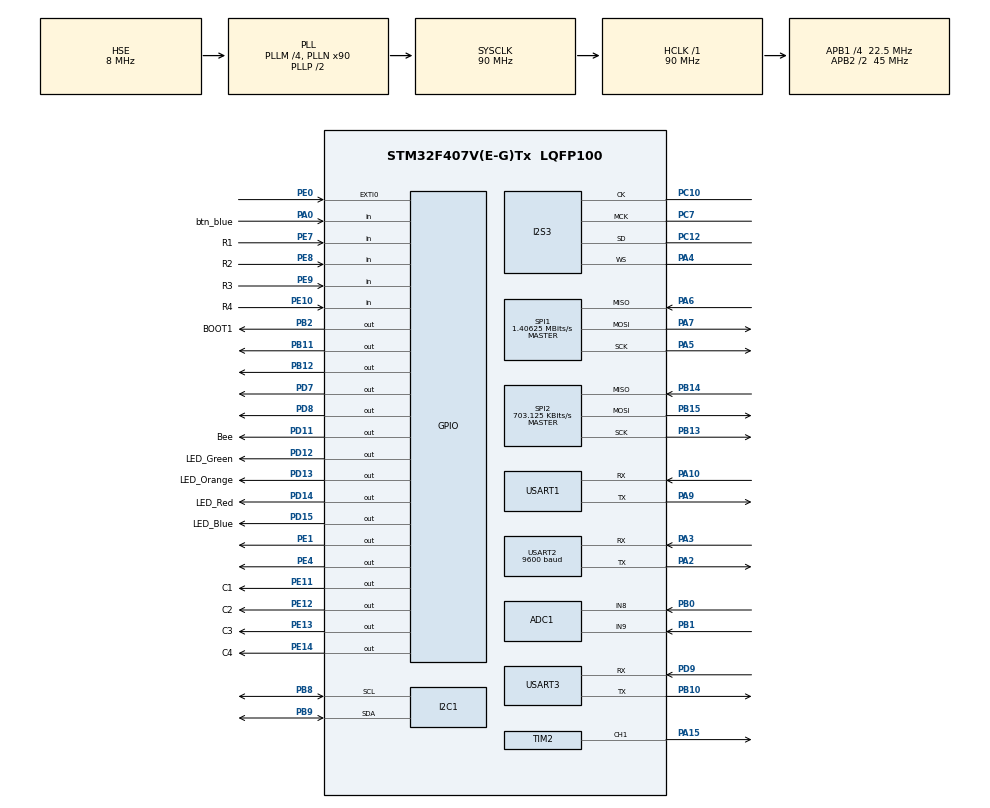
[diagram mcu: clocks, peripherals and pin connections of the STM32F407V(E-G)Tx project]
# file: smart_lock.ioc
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ADC1.Channel-0\#ChannelRegularConversion=ADC_CHANNEL_8
ADC1.Channel-1\#ChannelRegularConversion=ADC_CHANNEL_9
ADC1.ContinuousConvMode=ENABLE
ADC1.NbrOfConversion=2
ADC1.NbrOfConversionFlag=1
ADC1.Rank-0\#ChannelRegularConversion=1
ADC1.Rank-1\#ChannelRegularConversion=2
ADC1.SamplingTime-0\#ChannelRegularConversion=ADC_SAMPLETIME_3CYCLES
ADC1.SamplingTime-1\#ChannelRegularConversion=ADC_SAMPLETIME_3CYCLES
ADC1.ScanConvMode=ENABLE
ADC1.master=1
Dma.ADC1.1.Direction=DMA_PERIPH_TO_MEMORY
Dma.ADC1.1.FIFOMode=DMA_FIFOMODE_DISABLE
Dma.ADC1.1.Instance=DMA2_Stream0
Dma.ADC1.1.MemDataAlignment=DMA_MDATAALIGN_WORD
Dma.ADC1.1.MemInc=DMA_MINC_ENABLE
Dma.ADC1.1.Mode=DMA_CIRCULAR
Dma.ADC1.1.PeriphDataAlignment=DMA_PDATAALIGN_WORD
Dma.ADC1.1.PeriphInc=DMA_PINC_DISABLE
Dma.ADC1.1.Priority=DMA_PRIORITY_LOW
Dma.Request0=SPI3_TX
Dma.Request1=ADC1
Dma.SPI3_TX.0.Direction=DMA_MEMORY_TO_PERIPH
Dma.SPI3_TX.0.FIFOMode=DMA_FIFOMODE_ENABLE
Dma.SPI3_TX.0.FIFOThreshold=DMA_FIFO_THRESHOLD_FULL
Dma.SPI3_TX.0.Instance=DMA1_Stream5
Dma.SPI3_TX.0.MemBurst=DMA_MBURST_SINGLE
Dma.SPI3_TX.0.MemDataAlignment=DMA_MDATAALIGN_HALFWORD
Dma.SPI3_TX.0.MemInc=DMA_MINC_ENABLE
Dma.SPI3_TX.0.Mode=DMA_CIRCULAR
Dma.SPI3_TX.0.PeriphBurst=DMA_PBURST_SINGLE
Dma.SPI3_TX.0.PeriphDataAlignment=DMA_PDATAALIGN_HALFWORD
Dma.SPI3_TX.0.PeriphInc=DMA_PINC_DISABLE
Dma.SPI3_TX.0.Priority=DMA_PRIORITY_LOW
I2S3.AudioFreq=I2S_AUDIOFREQ_44K
I2S3.ErrorAudioFreq=10.97 %
I2S3.FullDuplexMode=I2S_FULLDUPLEXMODE_DISABLE
I2S3.Instance=SPI$Index
I2S3.RealAudioFreq=48.828 KHz
I2S3.VirtualMode=I2S_MODE_MASTER
Mcu.Family=STM32F4
Mcu.Name=STM32F407V(E-G)Tx
Mcu.Package=LQFP100
NVIC.DMA1_Stream5_IRQn=true\:0\:0\:false\:false\:true\:false\:true\:true
NVIC.DMA2_Stream0_IRQn=true\:0\:0\:false\:false\:true\:false\:true\:true
NVIC.EXTI0_IRQn=true\:15\:0\:true\:false\:true\:true\:true\:true
NVIC.PriorityGroup=NVIC_PRIORITYGROUP_4
NVIC.TIM7_IRQn=true\:15\:0\:false\:false\:true\:false\:true\:true
NVIC.TimeBase=TIM7_IRQn
NVIC.TimeBaseIP=TIM7
NVIC.USART2_IRQn=true\:0\:0\:false\:false\:true\:true\:true\:true
NVIC.USART3_IRQn=true\:0\:0\:false\:false\:true\:true\:true\:true
PA0-WKUP.GPIO_Label=btn_blue
PA0-WKUP.Signal=GPIO_Input
PA10.Mode=Asynchronous
PA10.Signal=USART1_RX
PA13.Mode=Serial_Wire
PA13.Signal=SYS_JTMS-SWDIO
PA14.Mode=Serial_Wire
PA14.Signal=SYS_JTCK-SWCLK
PA15.Signal=S_TIM2_CH1_ETR
PA2.Mode=Asynchronous
PA2.Signal=USART2_TX
PA3.Mode=Asynchronous
PA3.Signal=USART2_RX
PA4.Mode=Half_Duplex_Master
PA4.Signal=I2S3_WS
PA5.Mode=Full_Duplex_Master
PA5.Signal=SPI1_SCK
PA6.Mode=Full_Duplex_Master
PA6.Signal=SPI1_MISO
PA7.Mode=Full_Duplex_Master
PA7.Signal=SPI1_MOSI
PA9.Mode=Asynchronous
PA9.Signal=USART1_TX
PB0.Signal=ADCx_IN8
PB1.Signal=ADCx_IN9
PB10.Mode=Asynchronous
PB10.Signal=USART3_TX
PB11.Signal=GPIO_Output
PB12.Signal=GPIO_Output
PB13.Mode=Full_Duplex_Master
PB13.Signal=SPI2_SCK
PB14.Mode=Full_Duplex_Master
PB14.Signal=SPI2_MISO
PB15.Mode=Full_Duplex_Master
PB15.Signal=SPI2_MOSI
PB2.GPIO_Label=BOOT1
PB2.Signal=GPIO_Output
PB8.GPIO_Pu=GPIO_PULLUP
PB8.Mode=I2C
PB8.Signal=I2C1_SCL
PB9.GPIO_Pu=GPIO_PULLUP
PB9.Mode=I2C
PB9.Signal=I2C1_SDA
PC10.Mode=Half_Duplex_Master
PC10.Signal=I2S3_CK
PC12.Mode=Half_Duplex_Master
PC12.Signal=I2S3_SD
PC7.Mode=Master_Clock_Activated
PC7.Signal=I2S3_MCK
PD11.GPIO_Label=Bee
PD11.Signal=GPIO_Output
PD12.GPIO_Label=LED_Green
PD12.Signal=GPIO_Output
PD13.GPIO_Label=LED_Orange
PD13.Signal=GPIO_Output
PD14.GPIO_Label=LED_Red
PD14.Signal=GPIO_Output
PD15.GPIO_Label=LED_Blue
PD15.Signal=GPIO_Output
PD7.Signal=GPIO_Output
PD8.Signal=GPIO_Output
PD9.Mode=Asynchronous
PD9.Signal=USART3_RX
PE0.Signal=GPXTI0
PE1.Signal=GPIO_Output
PE10.GPIO_Label=R4
PE10.Signal=GPIO_Input
PE11.GPIO_Label=C1
PE11.Signal=GPIO_Output
PE12.GPIO_Label=C2
PE12.Signal=GPIO_Output
PE13.GPIO_Label=C3
PE13.Signal=GPIO_Output
PE14.GPIO_Label=C4
PE14.Signal=GPIO_Output
PE4.Signal=GPIO_Output
PE7.GPIO_Label=R1
PE7.Signal=GPIO_Input
PE8.GPIO_Label=R2
PE8.Signal=GPIO_Input
PE9.GPIO_Label=R3
PE9.Signal=GPIO_Input
PH0-OSC_IN.Mode=HSE-External-Oscillator
PH0-OSC_IN.Signal=RCC_OSC_IN
PH1-OSC_OUT.Mode=HSE-External-Oscillator
PH1-OSC_OUT.Signal=RCC_OSC_OUT
ProjectManager.HeapSize=0x200
ProjectManager.StackSize=0x400
ProjectManager.TargetToolchain=STM32CubeIDE
RCC.48MHZClocksFreq_Value=45000000
RCC.AHBFreq_Value=90000000
RCC.APB1CLKDivider=RCC_HCLK_DIV4
RCC.APB1Freq_Value=22500000
RCC.APB1TimFreq_Value=45000000
RCC.APB2CLKDivider=RCC_HCLK_DIV2
RCC.APB2Freq_Value=45000000
RCC.APB2TimFreq_Value=90000000
RCC.CortexFreq_Value=90000000
RCC.HCLKFreq_Value=90000000
RCC.HSE_VALUE=8000000
RCC.HSI_VALUE=16000000
RCC.LSE_VALUE=32768
RCC.PLLI2SN=50
RCC.PLLM=4
RCC.PLLN=90
RCC.PLLSourceVirtual=RCC_PLLSOURCE_HSE
RCC.SYSCLKFreq_VALUE=90000000
RCC.SYSCLKSource=RCC_SYSCLKSOURCE_PLLCLK
RCC.VCOOutputFreq_Value=180000000
SH.ADCx_IN8.0=ADC1_IN8,IN8
SH.ADCx_IN9.0=ADC1_IN9,IN9
SH.S_TIM2_CH1_ETR.0=TIM2_CH1,PWM Generation1 CH1
SPI1.BaudRatePrescaler=SPI_BAUDRATEPRESCALER_32
SPI1.CalculateBaudRate=1.40625 MBits/s
SPI1.Direction=SPI_DIRECTION_2LINES
SPI1.Mode=SPI_MODE_MASTER
SPI1.VirtualType=VM_MASTER
SPI2.BaudRatePrescaler=SPI_BAUDRATEPRESCALER_32
SPI2.CalculateBaudRate=703.125 KBits/s
SPI2.Direction=SPI_DIRECTION_2LINES
SPI2.Mode=SPI_MODE_MASTER
SPI2.VirtualType=VM_MASTER
TIM2.Channel-PWM\ Generation1\ CH1=TIM_CHANNEL_1
TIM2.ClockDivision=TIM_CLOCKDIVISION_DIV1
TIM2.Period=65535
TIM2.Prescaler=89
USART1.VirtualMode=VM_ASYNC
USART2.BaudRate=9600
USART2.VirtualMode=VM_ASYNC
USART3.VirtualMode=VM_ASYNC
VP_SYS_VS_tim7.Mode=TIM7
board=custom

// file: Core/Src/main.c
/* USER CODE BEGIN Header */
/**
 ******************************************************************************
 * @file           : main.c
 * @brief          : Main program body
 ******************************************************************************
 * @attention
 *
 * <h2><center>&copy; Copyright (c) 2021 STMicroelectronics.
 * All rights reserved.</center></h2>
 *
 * This software component is licensed by ST under BSD 3-Clause license,
 * the "License"; You may not use this file except in compliance with the
 * License. You may obtain a copy of the License at:
 *                        opensource.org/licenses/BSD-3-Clause
 *
 ******************************************************************************
 */

#include <string.h>
//#include "main.h"
#include "FreeRTOS.h"

#include "queue.h"
#include "semphr.h"
#include "task.h"

#include "stdio.h"
#include "stdlib.h"
#include "stdbool.h"
#include "rc522.h"
#include "string.h"
#include "liquidcrystal_i2c.h"
/* USER CODE END Header */
#include "main.h"

/* USER CODE BEGIN Includes */
//#define RXBUFFERSIZE  256
//char RxBuffer[RXBUFFERSIZE];
//#include <stdio.h>
/* USER CODE END Includes */

/* USER CODE BEGIN PTD */
GPIO_TypeDef* R1_PORT = GPIOE;
GPIO_TypeDef* R2_PORT = GPIOE;
GPIO_TypeDef* R3_PORT = GPIOE;
GPIO_TypeDef* R4_PORT = GPIOE;
GPIO_TypeDef* C1_PORT = GPIOE;
GPIO_TypeDef* C2_PORT = GPIOE;
GPIO_TypeDef* C3_PORT = GPIOE;
GPIO_TypeDef* C4_PORT = GPIOE;
/* USER CODE END PTD */

/* USER CODE BEGIN PD */
#define R1_PIN GPIO_PIN_7
#define R2_PIN GPIO_PIN_8
#define R3_PIN GPIO_PIN_9
#define R4_PIN GPIO_PIN_10
#define C1_PIN GPIO_PIN_11
#define C2_PIN GPIO_PIN_12
#define C3_PIN GPIO_PIN_13
#define C4_PIN GPIO_PIN_14
/* USER CODE END PD */

ADC_HandleTypeDef hadc1;
DMA_HandleTypeDef hdma_adc1;

I2C_HandleTypeDef hi2c1;

I2S_HandleTypeDef hi2s3;
DMA_HandleTypeDef hdma_spi3_tx;

SPI_HandleTypeDef hspi1;
SPI_HandleTypeDef hspi2;

TIM_HandleTypeDef htim2;

UART_HandleTypeDef huart1;
UART_HandleTypeDef huart2;
UART_HandleTypeDef huart3;

/* USER CODE BEGIN PV */
uint8_t status;
uint8_t str[MAX_LEN]; // Max_LEN = 16
uint8_t sNum[5];
TaskHandle_t xHandle_1 = NULL;
TaskHandle_t xHandle_2 = NULL;
TaskHandle_t xHandle_lock_task = NULL;
TaskHandle_t xHandle_unlock_task = NULL;
  //registered card linked list
card *list_start = NULL;
card *list_end = NULL;

char key;
char enteredPin[5];
uint8_t entered = 0;
const char setPin[4] = {'1', '2', '3', '4'};
char newPin[5] = {'\0'};
uint8_t newPinSet = 0;
QueueHandle_t keypadQueue;

/* USER CODE END PV */

void SystemClock_Config(void);
static void MX_GPIO_Init(void);
static void MX_DMA_Init(void);
void MX_SPI1_Init(void);
static void MX_I2C1_Init(void);
static void MX_I2S3_Init(void);
static void MX_USART2_UART_Init(void);
static void MX_ADC1_Init(void);
static void MX_SPI2_Init(void);
static void MX_TIM2_Init(void);
static void MX_USART3_UART_Init(void);
static void MX_USART1_UART_Init(void);
/* USER CODE BEGIN PFP */
//extern ApplicationTypeDef Appli_state;
SemaphoreHandle_t xSemaphore;
uint8_t flag = pdTRUE;
uint8_t isFinished = 0;
int k=0;
int recvt;
QueueHandle_t xQue1;
/* USER CODE END PFP */

/* USER CODE BEGIN 0 */
//UART_HandleTypeDef UartHandle;
/* Private function prototypes -----------------------------------------------*/
char read_keypad(void)
{
    char keys[4][4] = {{'1', '2', '3', 'A'},
                       {'4', '5', '6', 'B'},
                       {'7', '8', '9', 'C'},
                       {'*', '0', '#', 'D'}};

    for (int i = 0; i < 4; i++)
    {
        // Set one column to LOW and others to HIGH
        HAL_GPIO_WritePin(C1_PORT, C1_PIN, (i == 0) ? GPIO_PIN_RESET : GPIO_PIN_SET);
        HAL_GPIO_WritePin(C2_PORT, C2_PIN, (i == 1) ? GPIO_PIN_RESET : GPIO_PIN_SET);
        HAL_GPIO_WritePin(C3_PORT, C3_PIN, (i == 2) ? GPIO_PIN_RESET : GPIO_PIN_SET);
        HAL_GPIO_WritePin(C4_PORT, C4_PIN, (i == 3) ? GPIO_PIN_RESET : GPIO_PIN_SET);
//         printf("Row 1 Pin State: %d\n", HAL_GPIO_ReadPin(R1_PORT, R1_PIN));

        // Check each row
        if (HAL_GPIO_ReadPin(R1_PORT, R1_PIN) == GPIO_PIN_RESET) {
            HAL_Delay(20); // Debounce delay
            if (HAL_GPIO_ReadPin(R1_PORT, R1_PIN) == GPIO_PIN_RESET) { // Check again
                return keys[i][0];
            }
        }
        if (HAL_GPIO_ReadPin(R2_PORT, R2_PIN) == GPIO_PIN_RESET) {
            HAL_Delay(20);
            if (HAL_GPIO_ReadPin(R2_PORT, R2_PIN) == GPIO_PIN_RESET) {
                return keys[i][1];
            }
        }
        if (HAL_GPIO_ReadPin(R3_PORT, R3_PIN) == GPIO_PIN_RESET) {
            HAL_Delay(20);
            if (HAL_GPIO_ReadPin(R3_PORT, R3_PIN) == GPIO_PIN_RESET) {
                return keys[i][2];
            }
        }
        if (HAL_GPIO_ReadPin(R4_PORT, R4_PIN) == GPIO_PIN_RESET) {
            HAL_Delay(20);
            if (HAL_GPIO_ReadPin(R4_PORT, R4_PIN) == GPIO_PIN_RESET) {
                return keys[i][3];
            }
        }
    }

//    printf("Key read: %c\n", key);
    return '\0';
}

//search card in the linked list stored in the RAM of board
uint8_t search_card_list_Global(uint8_t *target_cardVal)
{
  uint8_t card_exist = 0;
  card *current = list_start;
  while(current != NULL){
    if(current->data[0] == target_cardVal[0] && current->data[1] == target_cardVal[1] && current->data[2] == target_cardVal[2] && current->data[3] == target_cardVal[3] && current->data[4] == target_cardVal[4]){
      card_exist = 1;
      break;
    }
    current = current->next;
  }
  return card_exist;
}

//add a new card into the linked list, and update SD card
void rc522_add_card(){
  HAL_GPIO_WritePin(GPIOD,LED_Blue_Pin,1);
  //reset str before reading
  for(int cardVal = 0; cardVal < 5; cardVal++){
    str[cardVal] = 0;
  }
  //if a card is read, str[0~4] will not be 0
  //repeat reading until a card is read
  while(!(str[0] != 0 && str[1] != 0 && str[2] != 0 && str[3] != 0 && str[4] != 0)){
    status = MFRC522_Request(PICC_REQIDL, str);
    status = MFRC522_Anticoll(str);
  }
  //check if the readed card already exists in the linked list
  //if it exists, keep reading until a new card is read
  uint8_t card_exist = search_card_list_Global(str);
  while(card_exist){
    //reset str before reading
    for(int cardVal = 0; cardVal < 5; cardVal++){
      str[cardVal] = 0;
    }
    while(!(str[0] != 0 && str[1] != 0 && str[2] != 0 && str[3] != 0 && str[4] != 0)){
      status = MFRC522_Request(PICC_REQIDL, str);
      status = MFRC522_Anticoll(str);
    }
    card_exist = search_card_list_Global(str);
  }
  //add the new card to the list, don't forget to free this memory in delete_card fn.
  card *new_card = (card *)malloc(sizeof(card));
  new_card->next = NULL;
  for(int cardVal = 0; cardVal < 5; cardVal++){
    new_card->data[cardVal] = str[cardVal];
  }
  if(list_start == NULL){//the list is empty
    list_start = new_card;
    list_end = new_card;
  }else if (list_start -> next == NULL){//there is only one card in the list
    list_start->next = new_card;
    list_end = new_card;
  }else{//there are >= 2 cards in the list
    list_end->next = new_card;
    list_end = new_card;
  }
  HAL_GPIO_WritePin(GPIOD,LED_Blue_Pin,0);

  //update registered_card_linked_list to SD card.(overwrite)
  // update_card_to_SD();
}

//assume the target card is in the list
//delete the target card from the linked list, and update SD card
void rc522_delete_card(uint8_t *target_card_value){
  card *cur = list_start;
  card *prev = NULL;
  while(cur != NULL){
    if(cur->data[0] == target_card_value[0] && cur->data[1] == target_card_value[1] && cur->data[2] == target_card_value[2] && cur->data[3] == target_card_value[3] && cur->data[4] == target_card_value[4]){
      break; //found
    }
    prev = cur;
    cur = cur->next;
  }
  if(cur == list_start){//target is the first card
    list_start = list_start->next;
    free(cur);
    cur == NULL;
  }else if(cur == list_end){//target is the last card
    list_end = prev;
    prev->next = NULL;
    free(cur);
    cur == NULL;
  }else{//target is in the middle
    prev->next = cur->next;
    free(cur);
    cur == NULL;
  }
  //update registered_card_linked_list to SD card.(overwrite)
  // update_card_to_SD();
}

void rc522_test(void *pvParameters)
{
  //test
  // rc522_add_card();
  // uint8_t del[5] = {211,113,208,2,112};
  // rc522_delete_card(del);
  while(1){
    //it's possible that no card is read
    status = MFRC522_Request(PICC_REQIDL, str);
    status = MFRC522_Anticoll(str);
    memcpy(sNum, str, 5);
    uint8_t led_state = 0;

    // test
    // if((str[0]==211) && (str[1]==113) && (str[2]==208) && (str[3]==2) && (str[4]==112) )
    // {
    //   // HAL_GPIO_WritePin(GPIOD,LED_Orange_Pin,0);
    //   led_state = 0;
    //   HAL_Delay(100);
    //   }
    // else if((str[0]==106) && (str[1]==73) && (str[2]==5) && (str[3]==128) && (str[4]==166) )
    //   {
    //   // HAL_GPIO_WritePin(GPIOD,LED_Orange_Pin,0);
    //   led_state = 0;
    //   HAL_Delay(200);
    // }
    // else
    // {
    //   // HAL_GPIO_WritePin(GPIOD,LED_Orange_Pin,1);
    //   led_state = 1;
    // }

    //test: os will crash when readiing SD card first.(i.e. Not write to SD card first)
    //search_card_list_SD(str);

    uint8_t card_exist = search_card_list_Global(str);
    if(card_exist){
      led_state = 0;
    }else{
      led_state = 1;
    }
    HAL_GPIO_WritePin(GPIOD,LED_Orange_Pin,led_state);
    HAL_Delay(300);
  }
}

int debounce(int state){
  //pressed
  if(state){
    //wait for some time to debounce
    vTaskDelay(25);
    //check if still pressed
    if(HAL_GPIO_ReadPin(btn_blue_GPIO_Port, GPIO_PIN_0)){
      //wait for button to be released
      while(HAL_GPIO_ReadPin(btn_blue_GPIO_Port, GPIO_PIN_0)){;}
      return 1;//pressed
    }
  }
  return 0;//not pressed
}

void PushButton(){
	for(;;){
		int opt=1;

		if(debounce(HAL_GPIO_ReadPin(btn_blue_GPIO_Port, GPIO_PIN_0))){
      xQueueSend(xQue1,&opt,(TickType_t)3);
      vTaskDelay(25);
    }
	}
}

uint8_t rc522_check(){
  status = MFRC522_Request(PICC_REQIDL, str);
  status = MFRC522_Anticoll(str);
  memcpy(sNum, str, 5);
  uint8_t card_exist = search_card_list_Global(str);
  return card_exist;
}

void setpin(){
  HD44780_Init(2);
  HD44780_Clear();
  HD44780_PrintStr("Entering PIN:");
  HD44780_SetCursor(0, 1);
  bool isButtonPressed = false;
  char enteredPin[5] = {0};
  uint8_t local_entered = 0;
  // bool newPinSet = false;
  while (local_entered < 4) {
    key = read_keypad();
    if (key != '\0' && !isButtonPressed) {
      if (key >= '0' && key <= '9' && local_entered < 4) {
          strncat(enteredPin, &key, 1);
          local_entered++;
          HD44780_PrintStr("*");
      } else if (key == 'C' && local_entered > 0) {
          enteredPin[local_entered - 1] = '\0';
          local_entered--;
          for(int i = 0; i < local_entered; i++) {
              HD44780_PrintStr("*");
          }
      }
      if (local_entered == 4) {
          strncpy(newPin, enteredPin, 4);
          // newPinSet = true;
          enteredPin[0] = '\0';
          HD44780_Clear();
          HD44780_PrintStr("PIN Set!");
          uint32_t From_begin_time = HAL_GetTick();
          while(HAL_GetTick() - From_begin_time < 1000/portTICK_RATE_MS){//wait 3s for push button
            ;
          }
      }
      isButtonPressed = true;  // Mark the button as pressed
    }else if (key == '\0') {
        isButtonPressed = false;  // Reset button press state
    }
  }
  return;
}

void unlock_fn_setpin() {
    HD44780_Init(2);//lcd init, should be called in "task"
    HD44780_Clear();
    char unlock[16] = "UNLOCK!";
    HD44780_PrintStr(unlock);
    char add_Card_str[16] = "Set pin";
    HD44780_SetCursor(0,1);//move cursor to the first word of the second line
    HD44780_PrintStr(add_Card_str);
    uint32_t From_begin_time = HAL_GetTick();
    while(HAL_GetTick() - From_begin_time < 3000/portTICK_RATE_MS){//wait 3s for push button
      if(debounce(HAL_GPIO_ReadPin(btn_blue_GPIO_Port, GPIO_PIN_0))){//push button
        setpin();
        return;
      }
    }
}

uint8_t keypad_check() {
    printf("Entered keypad_check()\n");
    char enteredPin[5] = {0};
    uint8_t entered = 0;
    char key;
    bool isButtonPressed = false;
    bool startInput = false;  // Flag to indicate whether to start PIN input

    HD44780_Clear();
    HD44780_SetCursor(0, 0);
    HD44780_PrintStr("Ready");
    HAL_Delay(20);

    while (entered < 4) {
        key = read_keypad();  // Read key input

        if (key != '\0' && !isButtonPressed) {
            printf("Entered key: %c\n", key);
            if (!startInput) {
                HD44780_Clear();
                HD44780_SetCursor(0, 0);
                HD44780_PrintStr("Enter PIN:");
                startInput = true;  // Start showing PIN input screen and accepting PIN input
            }

            if (key >= '0' && key <= '9' && entered < 4) {
                strncat(enteredPin, &key, 1);
                entered++;

                HD44780_SetCursor(11 + entered - 1, 0);
                HD44780_PrintStr("*");  // Print each '*' as it is entered
                printf(key);
            } else if (key == 'C' && entered > 0) {
                enteredPin[--entered] = '\0';
                HD44780_SetCursor(11 + entered, 0);
                HD44780_PrintStr(" ");  // Clear the '*' from the display
            }

            isButtonPressed = true;  // Mark the button as pressed
        } else if (key == '\0') {
            isButtonPressed = false;  // Reset button press state
        }
    }

    if (entered == 4) {
        if (strncmp(enteredPin, setPin, 4) == 0 || (strncmp(enteredPin, newPin, 4) == 0)) {
            HD44780_Clear();
            HD44780_SetCursor(0, 0);
            HD44780_PrintStr("UNLOCKED");
            return 1;  // PIN is correct
        } else {
            HD44780_SetCursor(0, 1);
            HD44780_PrintStr("Wrong PIN. Try again.");
            return 0;  // PIN is incorrect
        }
    }
    return 0;  // Default return if less than 4 digits were entered
}

uint8_t bluetooth_check(){
	uint8_t rx_data = 0;
	if(HAL_UART_Receive(&huart2,&rx_data,1, 300) == HAL_OK){
		if(rx_data == '1'){
			return 1;
		}
		else{
			return 0;
		}
	}
	return 0;
}

void unlock_fn_AddCard(){
  HD44780_Init(2);//lcd init, should be called in "task"
  HD44780_Clear();//clean screen
  char unlock[16] = "UNLOCK!";
  HD44780_PrintStr(unlock);
  char add_Card_str[16] = "Add Card";
  HD44780_SetCursor(0,1);//move cursor to the first word of the second line
  HD44780_PrintStr(add_Card_str);
  uint32_t From_begin_time = HAL_GetTick();
  while(HAL_GetTick() - From_begin_time < 3000/portTICK_RATE_MS){//wait 3s for push button
    if(debounce(HAL_GPIO_ReadPin(btn_blue_GPIO_Port, GPIO_PIN_0))){//push button
      rc522_add_card();
      return;
    }
  }
}

void unlock_fn_DelCard(){
  HD44780_Init(2);//lcd init, should be called in "task"
  HD44780_Clear();//clean screen
  char unlock[16] = "UNLOCK!";
  HD44780_PrintStr(unlock);
  char del_Card_str[16] = "Del Card";
  HD44780_SetCursor(0,1);
  HD44780_PrintStr(del_Card_str);
  uint32_t From_begin_time = HAL_GetTick();
  while(HAL_GetTick() - From_begin_time < 3000/portTICK_RATE_MS){//wait 3s for push button
    if(debounce(HAL_GPIO_ReadPin(btn_blue_GPIO_Port, GPIO_PIN_0))){//make sure doing delete card
      while(1){
        int count = 0;
        card *current = list_start;
        while(current != NULL){
          HD44780_Clear();
          char CARD[16] = "card ";
          char card_number[1];
          sprintf(card_number, "%d", count);
          strcat(CARD, card_number);
          HD44780_PrintStr(CARD);
          uint32_t card_showTime = HAL_GetTick();
          while(HAL_GetTick() - card_showTime < 1000/portTICK_RATE_MS){//delete selected card
            if(debounce(HAL_GPIO_ReadPin(btn_blue_GPIO_Port, GPIO_PIN_0))){
              uint8_t del[5] = {current->data[0], current->data[1], current->data[2], current->data[3], current->data[4]};
              rc522_delete_card(del);
              HD44780_Clear();
              char unlock_str[16] = "UNLOCK!";
              HD44780_PrintStr(unlock_str);
              return;
            }
          }
          current = current->next;
          count++;
        }
      }
    }
  }
}

void unlock_fn_Lock(){
  HD44780_Init(2);//lcd init, should be called in "task"
  HD44780_Clear();//clean screen
  char unlock[16] = "UNLOCK!";
  HD44780_PrintStr(unlock);
  char del_Card_str[16] = "LOCK function";
  HD44780_SetCursor(0,1);
  HD44780_PrintStr(del_Card_str);
  uint32_t From_begin_time = HAL_GetTick();
  while(HAL_GetTick() - From_begin_time < 3000/portTICK_RATE_MS){//wait 3s for push button
    if(debounce(HAL_GPIO_ReadPin(btn_blue_GPIO_Port, GPIO_PIN_0))){
      HD44780_Clear();
      vTaskResume(xHandle_lock_task);
      unlock_bee();
    }
  }
}

void lock_bee(){
  for (size_t i = 0; i < 2; i++)
  {
    uint32_t bee_time = HAL_GetTick();
    HAL_GPIO_WritePin(GPIOD, Bee_Pin, GPIO_PIN_SET);
    while(HAL_GetTick() - bee_time < 300/portTICK_RATE_MS){
      ;
    }
    HAL_GPIO_WritePin(GPIOD, Bee_Pin, GPIO_PIN_RESET);
    while(HAL_GetTick() - bee_time < 600/portTICK_RATE_MS){
      ;
    }
  }
}

void unlock_bee(){
  uint32_t bee_time = HAL_GetTick();
  HAL_GPIO_WritePin(GPIOD, Bee_Pin, GPIO_PIN_SET);
  while(HAL_GetTick() - bee_time < 300/portTICK_RATE_MS){
    ;
  }
  HAL_GPIO_WritePin(GPIOD, Bee_Pin, GPIO_PIN_RESET);
}

void lock_task(void *pvParameters){
  HD44780_Init(2);//lcd init, should be called in "task"
  HD44780_Clear();//clean screen
  uint8_t keyPressed = 0;
  lock_bee();
  while(1){
    char lock_str[16] = "LOCK!";
    HAL_GPIO_TogglePin(GPIOD, LED_Green_Pin);
    HD44780_PrintStr(lock_str);
    uint8_t unlock = 0;
    unlock = rc522_check();//str_1
    if(unlock){
      HAL_UART_Transmit(&huart3, (uint8_t*)"1", 14, 1000);//1:card_unlock
      vTaskSuspend(xHandle_lock_task);
      lock_bee();
    }

    uint32_t From_begin_time = HAL_GetTick();
    while(HAL_GetTick() - From_begin_time < 300/portTICK_RATE_MS){ //busy waiting 300 ms, can't use vTaskDelay
        char key = read_keypad();
        if (key != '\0' && !keyPressed) {
            keyPressed = 1;
            if (keypad_check()) {
                HAL_UART_Transmit(&huart3, (uint8_t*)"2", 14, 1000);//2:password_unlock
                vTaskSuspend(xHandle_lock_task);
                lock_bee();
            }
        } else if (key == '\0' && keyPressed) {
            keyPressed = 0; // Reset the flag when the key is released
        }
    }

    unlock = bluetooth_check();//wait 300ms for bluetooth signal
    if(unlock){
      // char* device = "BT";
      // sendLogToServer(device);
      HAL_UART_Transmit(&huart3, (uint8_t*)"3", 14, 1000);//3:bluetooth_unlock
      vTaskSuspend(xHandle_lock_task);
      lock_bee();
    }

    HD44780_Clear();
  }
}

void unlock_task(void *pvParameters){
  HD44780_Init(2);//lcd init, should be called in "task"
  HD44780_Clear();//clean screen
  unlock_bee();
  while(1){
    char unlock_str[16] = "UNLOCK!";
    HD44780_PrintStr(unlock_str);
    uint8_t fn_execute = 0;
    char key = read_keypad();
    if (key == 'A'){
      unlock_fn_AddCard();
    }
    if (key == 'B'){
      unlock_fn_DelCard();
    }
    if (key == 'C'){
      unlock_fn_Lock();
    }
    if (key == 'D'){
      unlock_fn_setpin();
    }
    HD44780_Clear();
  }
}

// void sendCommand(UART_Handlsd) {
//     HAL_UART_Transmit(huart, (uint8_t*)cmd, strlen(cmd), 1000);
// }

// void receiveResponse(UART_HandleTypeDef *huart, uint8_t *buffer, uint16_t bufferSize) {
//     HAL_UART_Receive(huart, buffer, bufferSize, 1000);
// }

// void sendLogToServer(const char* device) {
//     char httpRequest[256];
//     char httpCmd[64];
//     char rxBuffer[256];

//     memset(rxBuffer,'\0',sizeof(rxBuffer));
//     sendCommand(&huart1, "AT+CIPSTART=\"TCP\",\"192.168.50.94\",8000\r\n");
//     receiveResponse(&huart1, rxBuffer, sizeof(rxBuffer));

//     // Create the JSON payload
//     snprintf(httpRequest, sizeof(httpRequest),
//              "POST /log HTTP/1.1\r\n"
//              "Host: 192.168.1.115:8000\r\n"
//              "Content-Type: application/json\r\n"
//              "Content-Length: %d\r\n"
//              "\r\n"
//              "{\"device\":\"%s\"}",
//              strlen(device) + 13, device);

//     // Calculate the length of the HTTP request
//     int httpRequestLength = strlen(httpRequest);

//     // Create the AT+CIPSEND command with the correct length
//     snprintf(httpCmd, sizeof(httpCmd), "AT+CIPSEND=%d\r\n", httpRequestLength);

//     // Clear the receive buffer
//     memset(rxBuffer, '\0', sizeof(rxBuffer));

//     // Send the AT+CIPSEND command
//     sendCommand(&huart1, httpCmd);

//     // Receive the response (wait for ">")
//     receiveResponse(&huart1, rxBuffer, sizeof(rxBuffer));

//     // Check if the response contains ">"
//     if (strstr(rxBuffer, ">") != NULL) {
//         // Clear the receive buffer
//         memset(rxBuffer, '\0', sizeof(rxBuffer));

//         // Send the actual HTTP request
//         sendCommand(&huart1, httpRequest);

//         // Receive the response
//         receiveResponse(&huart1, rxBuffer, sizeof(rxBuffer));
//     }

//     memset(rxBuffer, '\0', sizeof(rxBuffer));
//     sendCommand(&huart1, "AT+CIPCLOSE\r\n");
//     receiveResponse(&huart1, rxBuffer, sizeof(rxBuffer));
// }

// void vEsp8266Init(){
//       char rxBuffer[512];

//       memset(rxBuffer,'\0',sizeof(rxBuffer));
//       sendCommand(&huart2, "AT\r\n");
//       receiveResponse(&huart2, rxBuffer, sizeof(rxBuffer));

//       memset(rxBuffer,'\0',sizeof(rxBuffer));
//       sendCommand(&huart2, "AT+CWMODE=1\r\n");
//       receiveResponse(&huart2, rxBuffer, sizeof(rxBuffer));

//       memset(rxBuffer,'\0',sizeof(rxBuffer));
//       sendCommand(&huart2, "AT+CWJAP=\"92902\",\"00092902\"\r\n");
//       receiveResponse(&huart2, rxBuffer, sizeof(rxBuffer));

//       memset(rxBuffer,'\0',sizeof(rxBuffer));
//       sendCommand(&huart2, "AT+CIPMUX=0\r\n");
//       receiveResponse(&huart2, rxBuffer, sizeof(rxBuffer));
// }

/* USER CODE END 0 */

int main(void)
{
  /* USER CODE BEGIN 1 */
	uint64_t CardSize = 0;
  /* USER CODE END 1 */

  /* MCU Configuration--------------------------------------------------------*/

  /* Reset of all peripherals, Initializes the Flash interface and the Systick. */
  HAL_Init();

  /* USER CODE BEGIN Init */
  xQue1=xQueueCreate(5,sizeof(int));
  /* USER CODE END Init */

  /* Configure the system clock */
  SystemClock_Config();

  /* Initialize all configured peripherals */
  MX_GPIO_Init();
  MX_DMA_Init();
  MX_SPI1_Init();
  MX_I2C1_Init();
  MX_I2S3_Init();
  MX_USART2_UART_Init();
  MX_ADC1_Init();
  MX_SPI2_Init();
  MX_TIM2_Init();
  MX_USART3_UART_Init();
  MX_USART1_UART_Init();
  /* USER CODE BEGIN 2 */
  // vEsp8266Init(); //WiFi init
  MFRC522_Init();//card reader init
  card *default_card = (card *)malloc(sizeof(card));
  default_card->next = NULL;
  default_card->data[0] = 211;
  default_card->data[1] = 113;
  default_card->data[2] = 208;
  default_card->data[3] = 2;
  default_card->data[4] = 112;
  list_start = default_card;
  list_end = default_card;

	// printf("# SD Card Type:0x%02X\r\n", SD_Type);
	// printf("# SD Card Size:%luMB\r\n", (uint32_t) CardSize);
	// // HAL_Delay(1000);

	// printf(
	// 		"\r\n\r\n####################### HAL Libary SD Card SPI FATFS Demo ################################\r\n");
	// MX_FATFS_Init();
	// exf_mount();
	// exf_getfree();
  // FATFS_RdWrTest();

  /*lab5-3*/
  // xTaskCreate(Task3, "task3", 500, NULL, 1, NULL);
  // xTaskCreate(PushButton, "PushButton", 128, NULL, 1, NULL);
  /*not relative to lab5*/
  // xTaskCreate(joystick,"joystick",2048,NULL,1,NULL);
	// xTaskCreate(lcd_test,"lcd_test", 500, NULL, 2, &xHandle_2);

  /*lab5-1, 5-2*/
	/* How to use semaphore_binary in Lab2... */
	// xSemaphore = xSemaphoreCreateBinary(); //create a binary semaphore
	// xSemaphoreGive(xSemaphore);      // it must give a xSemaphorefirst to let a task run first
	// xTaskCreate(Task1, "task1", 500, NULL, 1, NULL);
	// xTaskCreate(Task2, "task2", 500, NULL, 1, NULL);

  //rc522-test
  // xTaskCreate(rc522_test, "rc522_test_task", 128, NULL, 1, &xHandle_1);

  //because configUSE_TIME_SLICING = 1
  //if priorities of lock_task and unlock_task are the same, they will be executed in turn.
  xTaskCreate(lock_task, "lock_task", 128, NULL, 2, &xHandle_lock_task);
  xTaskCreate(unlock_task, "unlock_task", 128, NULL, 1, &xHandle_unlock_task);

  vTaskStartScheduler();
  /* USER CODE END 2 */

  /* Infinite loop */
	while (1) {

	}
}

void SystemClock_Config(void)
{
  RCC_OscInitTypeDef RCC_OscInitStruct = {0};
  RCC_ClkInitTypeDef RCC_ClkInitStruct = {0};

  /** Configure the main internal regulator output voltage
  */
  __HAL_RCC_PWR_CLK_ENABLE();
  __HAL_PWR_VOLTAGESCALING_CONFIG(PWR_REGULATOR_VOLTAGE_SCALE1);

  /** Initializes the RCC Oscillators according to the specified parameters
  * in the RCC_OscInitTypeDef structure.
  */
  RCC_OscInitStruct.OscillatorType = RCC_OSCILLATORTYPE_HSE;
  RCC_OscInitStruct.HSEState = RCC_HSE_ON;
  RCC_OscInitStruct.PLL.PLLState = RCC_PLL_ON;
  RCC_OscInitStruct.PLL.PLLSource = RCC_PLLSOURCE_HSE;
  RCC_OscInitStruct.PLL.PLLM = 4;
  RCC_OscInitStruct.PLL.PLLN = 90;
  RCC_OscInitStruct.PLL.PLLP = RCC_PLLP_DIV2;
  RCC_OscInitStruct.PLL.PLLQ = 4;
  if (HAL_RCC_OscConfig(&RCC_OscInitStruct) != HAL_OK)
  {
    Error_Handler();
  }

  /** Initializes the CPU, AHB and APB buses clocks
  */
  RCC_ClkInitStruct.ClockType = RCC_CLOCKTYPE_HCLK|RCC_CLOCKTYPE_SYSCLK
                              |RCC_CLOCKTYPE_PCLK1|RCC_CLOCKTYPE_PCLK2;
  RCC_ClkInitStruct.SYSCLKSource = RCC_SYSCLKSOURCE_PLLCLK;
  RCC_ClkInitStruct.AHBCLKDivider = RCC_SYSCLK_DIV1;
  RCC_ClkInitStruct.APB1CLKDivider = RCC_HCLK_DIV4;
  RCC_ClkInitStruct.APB2CLKDivider = RCC_HCLK_DIV2;

  if (HAL_RCC_ClockConfig(&RCC_ClkInitStruct, FLASH_LATENCY_2) != HAL_OK)
  {
    Error_Handler();
  }
}

static void MX_ADC1_Init(void)
{

  ADC_ChannelConfTypeDef sConfig = {0};

  /** Configure the global features of the ADC (Clock, Resolution, Data Alignment and number of conversion)
  */
  hadc1.Instance = ADC1;
  hadc1.Init.ClockPrescaler = ADC_CLOCK_SYNC_PCLK_DIV2;
  hadc1.Init.Resolution = ADC_RESOLUTION_12B;
  hadc1.Init.ScanConvMode = ENABLE;
  hadc1.Init.ContinuousConvMode = ENABLE;
  hadc1.Init.DiscontinuousConvMode = DISABLE;
  hadc1.Init.ExternalTrigConvEdge = ADC_EXTERNALTRIGCONVEDGE_NONE;
  hadc1.Init.ExternalTrigConv = ADC_SOFTWARE_START;
  hadc1.Init.DataAlign = ADC_DATAALIGN_RIGHT;
  hadc1.Init.NbrOfConversion = 2;
  hadc1.Init.DMAContinuousRequests = DISABLE;
  hadc1.Init.EOCSelection = ADC_EOC_SINGLE_CONV;
  if (HAL_ADC_Init(&hadc1) != HAL_OK)
  {
    Error_Handler();
  }

  /** Configure for the selected ADC regular channel its corresponding rank in the sequencer and its sample time.
  */
  sConfig.Channel = ADC_CHANNEL_8;
  sConfig.Rank = 1;
  sConfig.SamplingTime = ADC_SAMPLETIME_3CYCLES;
  if (HAL_ADC_ConfigChannel(&hadc1, &sConfig) != HAL_OK)
  {
    Error_Handler();
  }

  /** Configure for the selected ADC regular channel its corresponding rank in the sequencer and its sample time.
  */
  sConfig.Channel = ADC_CHANNEL_9;
  sConfig.Rank = 2;
  if (HAL_ADC_ConfigChannel(&hadc1, &sConfig) != HAL_OK)
  {
    Error_Handler();
  }

}

static void MX_I2C1_Init(void)
{

  hi2c1.Instance = I2C1;
  hi2c1.Init.ClockSpeed = 100000;
  hi2c1.Init.DutyCycle = I2C_DUTYCYCLE_2;
  hi2c1.Init.OwnAddress1 = 0;
  hi2c1.Init.AddressingMode = I2C_ADDRESSINGMODE_7BIT;
  hi2c1.Init.DualAddressMode = I2C_DUALADDRESS_DISABLE;
  hi2c1.Init.OwnAddress2 = 0;
  hi2c1.Init.GeneralCallMode = I2C_GENERALCALL_DISABLE;
  hi2c1.Init.NoStretchMode = I2C_NOSTRETCH_DISABLE;
  if (HAL_I2C_Init(&hi2c1) != HAL_OK)
  {
    Error_Handler();
  }

}

static void MX_I2S3_Init(void)
{

  hi2s3.Instance = SPI3;
  hi2s3.Init.Mode = I2S_MODE_MASTER_TX;
  hi2s3.Init.Standard = I2S_STANDARD_PHILIPS;
  hi2s3.Init.DataFormat = I2S_DATAFORMAT_16B;
  hi2s3.Init.MCLKOutput = I2S_MCLKOUTPUT_ENABLE;
  hi2s3.Init.AudioFreq = I2S_AUDIOFREQ_44K;
  hi2s3.Init.CPOL = I2S_CPOL_LOW;
  hi2s3.Init.ClockSource = I2S_CLOCK_PLL;
  hi2s3.Init.FullDuplexMode = I2S_FULLDUPLEXMODE_DISABLE;
  if (HAL_I2S_Init(&hi2s3) != HAL_OK)
  {
    Error_Handler();
  }

}

void MX_SPI1_Init(void)
{

  /* SPI1 parameter configuration*/
  hspi1.Instance = SPI1;
  hspi1.Init.Mode = SPI_MODE_MASTER;
  hspi1.Init.Direction = SPI_DIRECTION_2LINES;
  hspi1.Init.DataSize = SPI_DATASIZE_8BIT;
  hspi1.Init.CLKPolarity = SPI_POLARITY_LOW;
  hspi1.Init.CLKPhase = SPI_PHASE_1EDGE;
  hspi1.Init.NSS = SPI_NSS_SOFT;
  hspi1.Init.BaudRatePrescaler = SPI_BAUDRATEPRESCALER_32;
  hspi1.Init.FirstBit = SPI_FIRSTBIT_MSB;
  hspi1.Init.TIMode = SPI_TIMODE_DISABLE;
  hspi1.Init.CRCCalculation = SPI_CRCCALCULATION_DISABLE;
  hspi1.Init.CRCPolynomial = 10;
  if (HAL_SPI_Init(&hspi1) != HAL_OK)
  {
    Error_Handler();
  }

}

static void MX_SPI2_Init(void)
{

  /* SPI2 parameter configuration*/
  hspi2.Instance = SPI2;
  hspi2.Init.Mode = SPI_MODE_MASTER;
  hspi2.Init.Direction = SPI_DIRECTION_2LINES;
  hspi2.Init.DataSize = SPI_DATASIZE_8BIT;
  hspi2.Init.CLKPolarity = SPI_POLARITY_LOW;
  hspi2.Init.CLKPhase = SPI_PHASE_1EDGE;
  hspi2.Init.NSS = SPI_NSS_SOFT;
  hspi2.Init.BaudRatePrescaler = SPI_BAUDRATEPRESCALER_32;
  hspi2.Init.FirstBit = SPI_FIRSTBIT_MSB;
  hspi2.Init.TIMode = SPI_TIMODE_DISABLE;
  hspi2.Init.CRCCalculation = SPI_CRCCALCULATION_DISABLE;
  hspi2.Init.CRCPolynomial = 10;
  if (HAL_SPI_Init(&hspi2) != HAL_OK)
  {
    Error_Handler();
  }

}

static void MX_TIM2_Init(void)
{

  TIM_MasterConfigTypeDef sMasterConfig = {0};
  TIM_OC_InitTypeDef sConfigOC = {0};

  htim2.Instance = TIM2;
  htim2.Init.Prescaler = 89;
  htim2.Init.CounterMode = TIM_COUNTERMODE_UP;
  htim2.Init.Period = 65535;
  htim2.Init.ClockDivision = TIM_CLOCKDIVISION_DIV1;
  htim2.Init.AutoReloadPreload = TIM_AUTORELOAD_PRELOAD_DISABLE;
  if (HAL_TIM_PWM_Init(&htim2) != HAL_OK)
  {
    Error_Handler();
  }
  sMasterConfig.MasterOutputTrigger = TIM_TRGO_RESET;
  sMasterConfig.MasterSlaveMode = TIM_MASTERSLAVEMODE_DISABLE;
  if (HAL_TIMEx_MasterConfigSynchronization(&htim2, &sMasterConfig) != HAL_OK)
  {
    Error_Handler();
  }
  sConfigOC.OCMode = TIM_OCMODE_PWM1;
  sConfigOC.Pulse = 0;
  sConfigOC.OCPolarity = TIM_OCPOLARITY_HIGH;
  sConfigOC.OCFastMode = TIM_OCFAST_DISABLE;
  if (HAL_TIM_PWM_ConfigChannel(&htim2, &sConfigOC, TIM_CHANNEL_1) != HAL_OK)
  {
    Error_Handler();
  }
  HAL_TIM_MspPostInit(&htim2);

}

static void MX_USART1_UART_Init(void)
{

  huart1.Instance = USART1;
  huart1.Init.BaudRate = 115200;
  huart1.Init.WordLength = UART_WORDLENGTH_8B;
  huart1.Init.StopBits = UART_STOPBITS_1;
  huart1.Init.Parity = UART_PARITY_NONE;
  huart1.Init.Mode = UART_MODE_TX_RX;
  huart1.Init.HwFlowCtl = UART_HWCONTROL_NONE;
  huart1.Init.OverSampling = UART_OVERSAMPLING_16;
  if (HAL_UART_Init(&huart1) != HAL_OK)
  {
    Error_Handler();
  }

}

static void MX_USART2_UART_Init(void)
{

  huart2.Instance = USART2;
  huart2.Init.BaudRate = 9600;
  huart2.Init.WordLength = UART_WORDLENGTH_8B;
  huart2.Init.StopBits = UART_STOPBITS_1;
  huart2.Init.Parity = UART_PARITY_NONE;
  huart2.Init.Mode = UART_MODE_TX_RX;
  huart2.Init.HwFlowCtl = UART_HWCONTROL_NONE;
  huart2.Init.OverSampling = UART_OVERSAMPLING_16;
  if (HAL_UART_Init(&huart2) != HAL_OK)
  {
    Error_Handler();
  }

}

static void MX_USART3_UART_Init(void)
{

  huart3.Instance = USART3;
  huart3.Init.BaudRate = 115200;
  huart3.Init.WordLength = UART_WORDLENGTH_8B;
  huart3.Init.StopBits = UART_STOPBITS_1;
  huart3.Init.Parity = UART_PARITY_NONE;
  huart3.Init.Mode = UART_MODE_TX_RX;
  huart3.Init.HwFlowCtl = UART_HWCONTROL_NONE;
  huart3.Init.OverSampling = UART_OVERSAMPLING_16;
  if (HAL_UART_Init(&huart3) != HAL_OK)
  {
    Error_Handler();
  }

}

static void MX_DMA_Init(void)
{

  /* DMA controller clock enable */
  __HAL_RCC_DMA1_CLK_ENABLE();
  __HAL_RCC_DMA2_CLK_ENABLE();

  /* DMA interrupt init */
  /* DMA1_Stream5_IRQn interrupt configuration */
  HAL_NVIC_SetPriority(DMA1_Stream5_IRQn, 0, 0);
  HAL_NVIC_EnableIRQ(DMA1_Stream5_IRQn);
  /* DMA2_Stream0_IRQn interrupt configuration */
  HAL_NVIC_SetPriority(DMA2_Stream0_IRQn, 0, 0);
  HAL_NVIC_EnableIRQ(DMA2_Stream0_IRQn);

}

static void MX_GPIO_Init(void)
{
  GPIO_InitTypeDef GPIO_InitStruct = {0};

  /* GPIO Ports Clock Enable */
  __HAL_RCC_GPIOE_CLK_ENABLE();
  __HAL_RCC_GPIOH_CLK_ENABLE();
  __HAL_RCC_GPIOA_CLK_ENABLE();
  __HAL_RCC_GPIOB_CLK_ENABLE();
  __HAL_RCC_GPIOD_CLK_ENABLE();
  __HAL_RCC_GPIOC_CLK_ENABLE();

  /*Configure GPIO pin Output Level */
  HAL_GPIO_WritePin(GPIOE, GPIO_PIN_4|C1_Pin|C2_Pin|C3_Pin
                          |C4_Pin|GPIO_PIN_1, GPIO_PIN_RESET);

  /*Configure GPIO pin Output Level */
  HAL_GPIO_WritePin(GPIOB, BOOT1_Pin|GPIO_PIN_11|GPIO_PIN_12, GPIO_PIN_RESET);

  /*Configure GPIO pin Output Level */
  HAL_GPIO_WritePin(GPIOD, GPIO_PIN_8|Bee_Pin|LED_Green_Pin|LED_Orange_Pin
                          |LED_Red_Pin|LED_Blue_Pin|GPIO_PIN_7, GPIO_PIN_RESET);

  /*Configure GPIO pins : PE4 C1_Pin C2_Pin C3_Pin
                           C4_Pin PE1 */
  GPIO_InitStruct.Pin = GPIO_PIN_4|C1_Pin|C2_Pin|C3_Pin
                          |C4_Pin|GPIO_PIN_1;
  GPIO_InitStruct.Mode = GPIO_MODE_OUTPUT_PP;
  GPIO_InitStruct.Pull = GPIO_NOPULL;
  GPIO_InitStruct.Speed = GPIO_SPEED_FREQ_LOW;
  HAL_GPIO_Init(GPIOE, &GPIO_InitStruct);

  /*Configure GPIO pin : btn_blue_Pin */
  GPIO_InitStruct.Pin = btn_blue_Pin;
  GPIO_InitStruct.Mode = GPIO_MODE_INPUT;
  GPIO_InitStruct.Pull = GPIO_NOPULL;
  HAL_GPIO_Init(btn_blue_GPIO_Port, &GPIO_InitStruct);

  /*Configure GPIO pins : BOOT1_Pin PB11 PB12 */
  GPIO_InitStruct.Pin = BOOT1_Pin|GPIO_PIN_11|GPIO_PIN_12;
  GPIO_InitStruct.Mode = GPIO_MODE_OUTPUT_PP;
  GPIO_InitStruct.Pull = GPIO_NOPULL;
  GPIO_InitStruct.Speed = GPIO_SPEED_FREQ_LOW;
  HAL_GPIO_Init(GPIOB, &GPIO_InitStruct);

  /*Configure GPIO pins : R1_Pin R2_Pin R3_Pin R4_Pin */
  GPIO_InitStruct.Pin = R1_Pin|R2_Pin|R3_Pin|R4_Pin;
  GPIO_InitStruct.Mode = GPIO_MODE_INPUT;
  GPIO_InitStruct.Pull = GPIO_PULLUP;
  HAL_GPIO_Init(GPIOE, &GPIO_InitStruct);

  /*Configure GPIO pins : PD8 Bee_Pin LED_Green_Pin LED_Orange_Pin
                           LED_Red_Pin LED_Blue_Pin PD7 */
  GPIO_InitStruct.Pin = GPIO_PIN_8|Bee_Pin|LED_Green_Pin|LED_Orange_Pin
                          |LED_Red_Pin|LED_Blue_Pin|GPIO_PIN_7;
  GPIO_InitStruct.Mode = GPIO_MODE_OUTPUT_PP;
  GPIO_InitStruct.Pull = GPIO_NOPULL;
  GPIO_InitStruct.Speed = GPIO_SPEED_FREQ_LOW;
  HAL_GPIO_Init(GPIOD, &GPIO_InitStruct);

  /*Configure GPIO pin : PE0 */
  GPIO_InitStruct.Pin = GPIO_PIN_0;
  GPIO_InitStruct.Mode = GPIO_MODE_IT_RISING;
  GPIO_InitStruct.Pull = GPIO_NOPULL;
  HAL_GPIO_Init(GPIOE, &GPIO_InitStruct);

  /* EXTI interrupt init*/
  HAL_NVIC_SetPriority(EXTI0_IRQn, 15, 0);
  HAL_NVIC_EnableIRQ(EXTI0_IRQn);

}

/* USER CODE BEGIN 4 */

void HAL_GPIO_EXTI_Callback(uint16_t GPIO_Pin) {
	BaseType_t xHigherPriorityTaskWoken;
	if (GPIO_Pin == GPIO_PIN_0) {
		xHigherPriorityTaskWoken = pdFALSE;
		if (flag == pdTRUE) {
			xSemaphoreGiveFromISR(xSemaphore, &xHigherPriorityTaskWoken);
		} else {
			//do nothing
		}

		HAL_GPIO_TogglePin(GPIOD, GPIO_PIN_14);
		uint8_t data_1 = 0x5f | 0x80;
		HAL_GPIO_WritePin(GPIOE, GPIO_PIN_3, GPIO_PIN_RESET);
		HAL_SPI_Transmit(&hspi1, &data_1, 1, 10);
		////	HAL_Delay(10);
		HAL_SPI_Receive(&hspi1, &data_1, 1, 10);
		HAL_GPIO_WritePin(GPIOE, GPIO_PIN_3, GPIO_PIN_SET);
		portYIELD_FROM_ISR(xHigherPriorityTaskWoken);
	}

}
/* USER CODE END 4 */

void HAL_TIM_PeriodElapsedCallback(TIM_HandleTypeDef *htim)
{
  if (htim->Instance == TIM7) {
    HAL_IncTick();
  }
}

void Error_Handler(void)
{
	__disable_irq();
	while (1) {
	}
}
